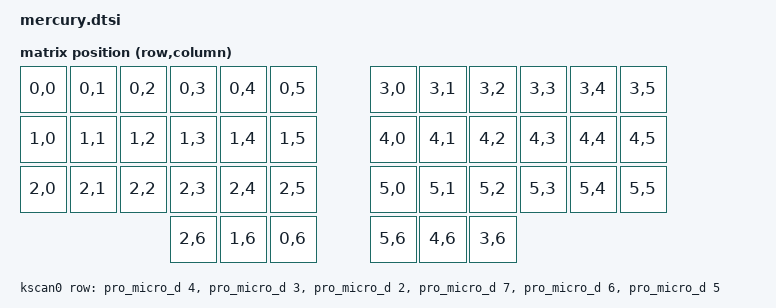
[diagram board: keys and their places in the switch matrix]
#include <dt-bindings/zmk/matrix_transform.h>

/ {
	chosen {
	    zmk,kscan = &kscan0;
	    zmk,matrix_transform = &default_transform;
	};

	default_transform: keymap_transform_0 {
		compatible = "zmk,matrix-transform";
		columns = <7>;
		rows = <6>;
		map = <
RC(0,0)  RC(0,1)  RC(0,2)  RC(0,3)  RC(0,4)  RC(0,5)    RC(3,0)  RC(3,1)  RC(3,2)  RC(3,3)  RC(3,4)  RC(3,5)
RC(1,0)  RC(1,1)  RC(1,2)  RC(1,3)  RC(1,4)  RC(1,5)    RC(4,0)  RC(4,1)  RC(4,2)  RC(4,3)  RC(4,4)  RC(4,5)
RC(2,0)  RC(2,1)  RC(2,2)  RC(2,3)  RC(2,4)  RC(2,5)    RC(5,0)  RC(5,1)  RC(5,2)  RC(5,3)  RC(5,4)  RC(5,5)
                           RC(2,6)  RC(1,6)  RC(0,6)    RC(5,6)  RC(4,6)  RC(3,6)
		>;
	};

	kscan0: kscan {
		compatible = "zmk,kscan-gpio-matrix";
		label = "KSCAN";

		diode-direction = "col2row";
		row-gpios
			= <&pro_micro_d  4 (GPIO_ACTIVE_HIGH | GPIO_PULL_DOWN)>
			, <&pro_micro_d  3 (GPIO_ACTIVE_HIGH | GPIO_PULL_DOWN)>
			, <&pro_micro_d  2 (GPIO_ACTIVE_HIGH | GPIO_PULL_DOWN)>
			, <&pro_micro_d  7 (GPIO_ACTIVE_HIGH | GPIO_PULL_DOWN)>
			, <&pro_micro_d  6 (GPIO_ACTIVE_HIGH | GPIO_PULL_DOWN)>
			, <&pro_micro_d  5 (GPIO_ACTIVE_HIGH | GPIO_PULL_DOWN)>
			;
	};
};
